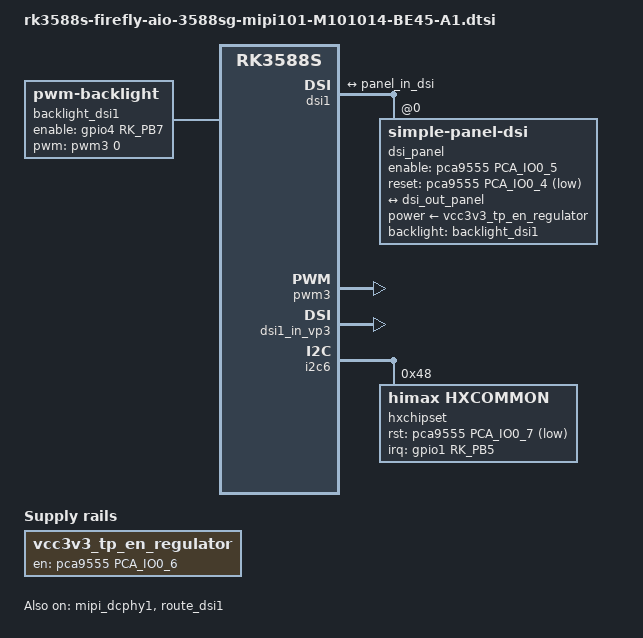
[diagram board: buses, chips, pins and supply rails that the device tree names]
// SPDX-License-Identifier: (GPL-2.0+ OR MIT)
/*
 * Copyright (c) 2022 T-chip Electronics Co., Ltd.
 *
 */

/ {

	vcc3v3_tp_en_regulator: vcc3v3-tp-en-regultor{
		status = "okay";
		compatible = "regulator-fixed";
		regulator-name = "vcc3v3_tp_en";
		regulator-always-on;
		enable-active-high;
        gpio = <&pca9555 PCA_IO0_6 GPIO_ACTIVE_HIGH>;
	};

    backlight_dsi1: backlight-dsi1 {
        status = "okay";
        compatible = "pwm-backlight"; 
        enable-gpios = <&gpio4 RK_PB7 GPIO_ACTIVE_HIGH>; 
		pwms = <&pwm3 0 50000 1>; 
        brightness-levels = <
             60  60  60  61  61  61  62  62
             62  63  63  63  64  64  64  65
             65  65  66  66  66  67  67  67
             68  68  68  69  69  69  70  70
             70  71  71  71  72  72  72  73
             73  73  74  74  74  75  75  75
             76  76  76  77  77  77  78  78
             78  79  79  79  80  80  80  81
             81  81  82  82  82  83  83  83
             84  84  84  85  85  85  86  86
             86  87  87  87  88  88  88  89
             89  89  90  91  92  93  94  95
             96  97  98  99 100 101 102 103
            104 105 106 107 108 109 110 111
            112 113 114 115 116 117 118 119
            120 121 122 123 124 125 126 127
            128 129 130 131 132 133 134 135
            136 137 138 139 140 141 142 143
            144 145 146 147 148 149 150 151
            152 153 154 155 156 157 158 159
            160 161 162 163 164 165 166 167
            168 169 170 171 172 173 174 175
            176 177 178 179 180 181 182 183
            184 185 186 187 188 189 190 191
            192 193 194 195 196 197 198 199
            200 201 202 203 204 205 206 207
            208 209 210 211 212 213 214 215
            216 217 218 219 220 221 222 223
            224 225 226 227 228 229 230 231
            232 233 234 235 236 237 238 239
            240 241 242 243 244 245 246 247
            248 249 250 251 252 253 254 255
        >;
        default-brightness-level = <150>;
    };
};

&dsi1 {
    status = "okay";
    //rockchip,lane-rate = <1000>;
    firefly-check;
    dsi_panel: panel@0 {
        status = "okay";
        compatible = "simple-panel-dsi";
        reg = <0>;
        backlight = <&backlight_dsi1>;
        power-supply = <&vcc3v3_tp_en_regulator>;
		enable-gpios = <&pca9555 PCA_IO0_5 GPIO_ACTIVE_HIGH>;
        reset-gpios = <&pca9555 PCA_IO0_4 GPIO_ACTIVE_LOW>; 

        enable-delay-ms = <50>;
        prepare-delay-ms = <200>;
        reset-delay-ms = <50>;
        init-delay-ms = <55>;
        unprepare-delay-ms = <50>;
        disable-delay-ms = <20>;
        mipi-data-delay-ms = <200>;
        size,width = <120>;
        size,height = <170>;
        dsi,flags = <(MIPI_DSI_MODE_VIDEO | MIPI_DSI_MODE_VIDEO_BURST | MIPI_DSI_MODE_LPM | MIPI_DSI_MODE_EOT_PACKET)>;
        dsi,format = <MIPI_DSI_FMT_RGB888>;
        dsi,lanes  = <4>;

        panel-init-sequence = [
            //39 00 04 B9 83 10 2E
            // 15 00 02 CF FF
            99 00 02 04 83
            05 78 01 11
            05 32 01 29
            //15 00 02 35 00
        ];

        panel-exit-sequence = [
            05 00 01 28
            05 00 01 10
        ];

        disp_timings0: display-timings {
            native-mode = <&dsi_timing0>;
            dsi_timing0: timing0 {
                clock-frequency = <72600000>;//<80000000>;
                hactive = <800>;//<768>;
                vactive = <1280>;
                hsync-len = <14>;   //20, 50,10
                hback-porch = <26>; //50, 56,10
                hfront-porch = <32>;//50, 30,180
                vsync-len = <8>;//4
                vback-porch = <20>;//4
                vfront-porch = <80>;//8
                hsync-active = <0>;
                vsync-active = <0>;
                de-active = <0>;
                pixelclk-active = <0>;
            };
        };

        ports {
            #address-cells = <1>;
            #size-cells = <0>;

            port@0 {
                reg = <0>;
                panel_in_dsi: endpoint {
                    remote-endpoint = <&dsi_out_panel>;
                };
            };
        };
    };

    ports {
        #address-cells = <1>;
        #size-cells = <0>;

        port@1 {
            reg = <1>;
            dsi_out_panel: endpoint {
            remote-endpoint = <&panel_in_dsi>;
            };
        };
    };
};

&pwm3 {
    pinctrl-0 = <&pwm3m3_pins>;
    status = "okay";
};

&mipi_dcphy1 {
    status = "okay";
};

&dsi1_in_vp2 {
    status = "disabled";
};

&dsi1_in_vp3 {
    status = "okay";
};

&route_dsi1 {
    status = "okay";
    connect = <&vp3_out_dsi1>;
};

&vop {
    assigned-clocks = <&cru ACLK_VOP>;
    assigned-clock-rates = <500000000>;
};

&route_hdmi0{
    status = "disabled";
};

&hdmi0 {
	status = "disabled";
};

&hdmi0_in_vp0 {
	status = "disabled";
};

&hdmi0_sound {
    status = "disabled";
};

&hdptxphy_hdmi0 {
	status = "disabled";
};

&i2c6 {
    hxchipset@48{
        status = "okay";
        compatible = "himax,hxcommon";
        reg = <0x48>;

        himax,rst-gpio =  <&pca9555 PCA_IO0_7 GPIO_ACTIVE_LOW>; 
        himax,irq-gpio = <&gpio1 RK_PB5 IRQ_TYPE_LEVEL_LOW>; 
        pinctrl-names = "default";
        pinctrl-0 = <&touch_int>;

        himax,panel-coords = <0 800 0 1280>;
        himax,display-coords = <0 800 0 1280>;
        report_type = <1>;
    };

};

&pinctrl {
    
    touch {
        touch_int: touch-int {
            rockchip,pins = <1 RK_PB5 RK_FUNC_GPIO &pcfg_pull_up>;
        };
    };

    lcd {
        vcc1v8_lcd_power_en: vcc1v8-lcd-power-en {
            rockchip,pins = <4 RK_PB7 RK_FUNC_GPIO &pcfg_pull_none>;
        };
	};
};
